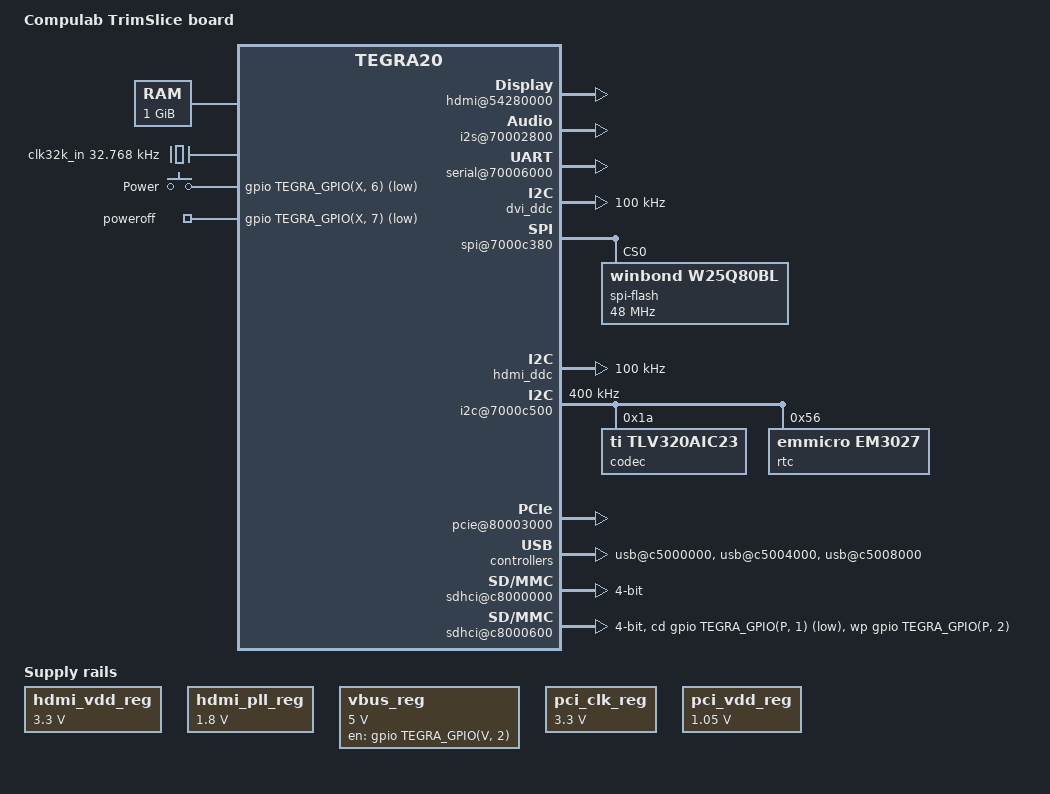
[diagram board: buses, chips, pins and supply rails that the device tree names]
/dts-v1/;

#include <dt-bindings/input/input.h>
#include "tegra20.dtsi"

/ {
	model = "Compulab TrimSlice board";
	compatible = "compulab,trimslice", "nvidia,tegra20";

	aliases {
		rtc0 = "/i2c@7000c500/rtc@56";
		rtc1 = "/rtc@7000e000";
		serial0 = &uarta;
	};

	chosen {
		stdout-path = "serial0:115200n8";
	};

	memory {
		reg = <0x00000000 0x40000000>;
	};

	host1x@50000000 {
		hdmi@54280000 {
			status = "okay";

			vdd-supply = <&hdmi_vdd_reg>;
			pll-supply = <&hdmi_pll_reg>;

			nvidia,ddc-i2c-bus = <&hdmi_ddc>;
			nvidia,hpd-gpio = <&gpio TEGRA_GPIO(N, 7)
				GPIO_ACTIVE_HIGH>;
		};
	};

	pinmux@70000014 {
		pinctrl-names = "default";
		pinctrl-0 = <&state_default>;

		state_default: pinmux {
			ata {
				nvidia,pins = "ata";
				nvidia,function = "ide";
			};
			atb {
				nvidia,pins = "atb", "gma";
				nvidia,function = "sdio4";
			};
			atc {
				nvidia,pins = "atc", "gmb";
				nvidia,function = "nand";
			};
			atd {
				nvidia,pins = "atd", "ate", "gme", "pta";
				nvidia,function = "gmi";
			};
			cdev1 {
				nvidia,pins = "cdev1";
				nvidia,function = "plla_out";
			};
			cdev2 {
				nvidia,pins = "cdev2";
				nvidia,function = "pllp_out4";
			};
			crtp {
				nvidia,pins = "crtp";
				nvidia,function = "crt";
			};
			csus {
				nvidia,pins = "csus";
				nvidia,function = "vi_sensor_clk";
			};
			dap1 {
				nvidia,pins = "dap1";
				nvidia,function = "dap1";
			};
			dap2 {
				nvidia,pins = "dap2";
				nvidia,function = "dap2";
			};
			dap3 {
				nvidia,pins = "dap3";
				nvidia,function = "dap3";
			};
			dap4 {
				nvidia,pins = "dap4";
				nvidia,function = "dap4";
			};
			ddc {
				nvidia,pins = "ddc";
				nvidia,function = "i2c2";
			};
			dta {
				nvidia,pins = "dta", "dtb", "dtc", "dtd", "dte";
				nvidia,function = "vi";
			};
			dtf {
				nvidia,pins = "dtf";
				nvidia,function = "i2c3";
			};
			gmc {
				nvidia,pins = "gmc", "gmd";
				nvidia,function = "sflash";
			};
			gpu {
				nvidia,pins = "gpu";
				nvidia,function = "uarta";
			};
			gpu7 {
				nvidia,pins = "gpu7";
				nvidia,function = "rtck";
			};
			gpv {
				nvidia,pins = "gpv", "slxa", "slxk";
				nvidia,function = "pcie";
			};
			hdint {
				nvidia,pins = "hdint";
				nvidia,function = "hdmi";
			};
			i2cp {
				nvidia,pins = "i2cp";
				nvidia,function = "i2cp";
			};
			irrx {
				nvidia,pins = "irrx", "irtx";
				nvidia,function = "uartb";
			};
			kbca {
				nvidia,pins = "kbca", "kbcb", "kbcc", "kbcd",
					"kbce", "kbcf";
				nvidia,function = "kbc";
			};
			lcsn {
				nvidia,pins = "lcsn", "ld0", "ld1", "ld2",
					"ld3", "ld4", "ld5", "ld6", "ld7",
					"ld8", "ld9", "ld10", "ld11", "ld12",
					"ld13", "ld14", "ld15", "ld16", "ld17",
					"ldc", "ldi", "lhp0", "lhp1", "lhp2",
					"lhs", "lm0", "lm1", "lpp", "lpw0",
					"lpw1", "lpw2", "lsc0", "lsc1", "lsck",
					"lsda", "lsdi", "lspi", "lvp0", "lvp1",
					"lvs";
				nvidia,function = "displaya";
			};
			owc {
				nvidia,pins = "owc", "uac";
				nvidia,function = "rsvd2";
			};
			pmc {
				nvidia,pins = "pmc";
				nvidia,function = "pwr_on";
			};
			rm {
				nvidia,pins = "rm";
				nvidia,function = "i2c1";
			};
			sdb {
				nvidia,pins = "sdb", "sdc", "sdd";
				nvidia,function = "pwm";
			};
			sdio1 {
				nvidia,pins = "sdio1";
				nvidia,function = "sdio1";
			};
			slxc {
				nvidia,pins = "slxc", "slxd";
				nvidia,function = "sdio3";
			};
			spdi {
				nvidia,pins = "spdi", "spdo";
				nvidia,function = "spdif";
			};
			spia {
				nvidia,pins = "spia", "spib", "spic";
				nvidia,function = "spi2";
			};
			spid {
				nvidia,pins = "spid", "spie", "spif";
				nvidia,function = "spi1";
			};
			spig {
				nvidia,pins = "spig", "spih";
				nvidia,function = "spi2_alt";
			};
			uaa {
				nvidia,pins = "uaa", "uab", "uda";
				nvidia,function = "ulpi";
			};
			uad {
				nvidia,pins = "uad";
				nvidia,function = "irda";
			};
			uca {
				nvidia,pins = "uca", "ucb";
				nvidia,function = "uartc";
			};
			conf_ata {
				nvidia,pins = "ata", "atc", "atd", "ate",
					"crtp", "dap2", "dap3", "dap4", "dta",
					"dtb", "dtc", "dtd", "dte", "gmb",
					"gme", "i2cp", "pta", "slxc", "slxd",
					"spdi", "spdo", "uda";
				nvidia,pull = <TEGRA_PIN_PULL_NONE>;
				nvidia,tristate = <TEGRA_PIN_ENABLE>;
			};
			conf_atb {
				nvidia,pins = "atb", "cdev1", "cdev2", "dap1",
					"gma", "gmc", "gmd", "gpu", "gpu7",
					"gpv", "sdio1", "slxa", "slxk", "uac";
				nvidia,pull = <TEGRA_PIN_PULL_NONE>;
				nvidia,tristate = <TEGRA_PIN_DISABLE>;
			};
			conf_ck32 {
				nvidia,pins = "ck32", "ddrc", "pmca", "pmcb",
					"pmcc", "pmcd", "pmce", "xm2c", "xm2d";
				nvidia,pull = <TEGRA_PIN_PULL_NONE>;
			};
			conf_csus {
				nvidia,pins = "csus", "spia", "spib",
					"spid", "spif";
				nvidia,pull = <TEGRA_PIN_PULL_DOWN>;
				nvidia,tristate = <TEGRA_PIN_ENABLE>;
			};
			conf_ddc {
				nvidia,pins = "ddc", "dtf", "rm", "sdc", "sdd";
				nvidia,pull = <TEGRA_PIN_PULL_UP>;
				nvidia,tristate = <TEGRA_PIN_DISABLE>;
			};
			conf_hdint {
				nvidia,pins = "hdint", "lcsn", "ldc", "lm1",
					"lpw1", "lsc1", "lsck", "lsda", "lsdi",
					"lvp0", "pmc";
				nvidia,tristate = <TEGRA_PIN_ENABLE>;
			};
			conf_irrx {
				nvidia,pins = "irrx", "irtx", "kbca", "kbcb",
					"kbcc", "kbcd", "kbce", "kbcf", "owc",
					"spic", "spie", "spig", "spih", "uaa",
					"uab", "uad", "uca", "ucb";
				nvidia,pull = <TEGRA_PIN_PULL_UP>;
				nvidia,tristate = <TEGRA_PIN_ENABLE>;
			};
			conf_lc {
				nvidia,pins = "lc", "ls";
				nvidia,pull = <TEGRA_PIN_PULL_UP>;
			};
			conf_ld0 {
				nvidia,pins = "ld0", "ld1", "ld2", "ld3", "ld4",
					"ld5", "ld6", "ld7", "ld8", "ld9",
					"ld10", "ld11", "ld12", "ld13", "ld14",
					"ld15", "ld16", "ld17", "ldi", "lhp0",
					"lhp1", "lhp2", "lhs", "lm0", "lpp",
					"lpw0", "lpw2", "lsc0", "lspi", "lvp1",
					"lvs", "sdb";
				nvidia,tristate = <TEGRA_PIN_DISABLE>;
			};
			conf_ld17_0 {
				nvidia,pins = "ld17_0", "ld19_18", "ld21_20",
					"ld23_22";
				nvidia,pull = <TEGRA_PIN_PULL_DOWN>;
			};
			conf_spif {
				nvidia,pins = "spif";
				nvidia,pull = <TEGRA_PIN_PULL_DOWN>;
				nvidia,tristate = <TEGRA_PIN_DISABLE>;
			};
		};
	};

	i2s@70002800 {
		status = "okay";
	};

	serial@70006000 {
		status = "okay";
	};

	dvi_ddc: i2c@7000c000 {
		status = "okay";
		clock-frequency = <100000>;
	};

	spi@7000c380 {
		status = "okay";
		spi-max-frequency = <48000000>;
		spi-flash@0 {
			compatible = "winbond,w25q80bl";
			reg = <0>;
			spi-max-frequency = <48000000>;
		};
	};

	hdmi_ddc: i2c@7000c400 {
		status = "okay";
		clock-frequency = <100000>;
	};

	i2c@7000c500 {
		status = "okay";
		clock-frequency = <400000>;

		codec: codec@1a {
			compatible = "ti,tlv320aic23";
			reg = <0x1a>;
		};

		rtc@56 {
			compatible = "emmicro,em3027";
			reg = <0x56>;
		};
	};

	pmc@7000e400 {
		nvidia,suspend-mode = <1>;
		nvidia,cpu-pwr-good-time = <5000>;
		nvidia,cpu-pwr-off-time = <5000>;
		nvidia,core-pwr-good-time = <3845 3845>;
		nvidia,core-pwr-off-time = <3875>;
		nvidia,sys-clock-req-active-high;
	};

	pcie@80003000 {
		status = "okay";

		avdd-pex-supply = <&pci_vdd_reg>;
		vdd-pex-supply = <&pci_vdd_reg>;
		avdd-pex-pll-supply = <&pci_vdd_reg>;
		avdd-plle-supply = <&pci_vdd_reg>;
		vddio-pex-clk-supply = <&pci_clk_reg>;

		pci@1,0 {
			status = "okay";
		};
	};

	usb@c5000000 {
		status = "okay";
	};

	usb-phy@c5000000 {
		status = "okay";
		vbus-supply = <&vbus_reg>;
	};

	usb@c5004000 {
		status = "okay";
		nvidia,phy-reset-gpio = <&gpio TEGRA_GPIO(V, 0)
			GPIO_ACTIVE_LOW>;
	};

	usb-phy@c5004000 {
		status = "okay";
		nvidia,phy-reset-gpio = <&gpio TEGRA_GPIO(V, 0)
			GPIO_ACTIVE_LOW>;
	};

	usb@c5008000 {
		status = "okay";
	};

	usb-phy@c5008000 {
		status = "okay";
	};

	sdhci@c8000000 {
		status = "okay";
		broken-cd;
		bus-width = <4>;
	};

	sdhci@c8000600 {
		status = "okay";
		cd-gpios = <&gpio TEGRA_GPIO(P, 1) GPIO_ACTIVE_LOW>;
		wp-gpios = <&gpio TEGRA_GPIO(P, 2) GPIO_ACTIVE_HIGH>;
		bus-width = <4>;
	};

	clocks {
		compatible = "simple-bus";
		#address-cells = <1>;
		#size-cells = <0>;

		clk32k_in: clock@0 {
			compatible = "fixed-clock";
			reg = <0>;
			#clock-cells = <0>;
			clock-frequency = <32768>;
		};
	};

	gpio-keys {
		compatible = "gpio-keys";

		power {
			label = "Power";
			gpios = <&gpio TEGRA_GPIO(X, 6) GPIO_ACTIVE_LOW>;
			linux,code = <KEY_POWER>;
			wakeup-source;
		};
	};

	poweroff {
		compatible = "gpio-poweroff";
		gpios = <&gpio TEGRA_GPIO(X, 7) GPIO_ACTIVE_LOW>;
	};

	regulators {
		compatible = "simple-bus";
		#address-cells = <1>;
		#size-cells = <0>;

		hdmi_vdd_reg: regulator@0 {
			compatible = "regulator-fixed";
			reg = <0>;
			regulator-name = "avdd_hdmi";
			regulator-min-microvolt = <3300000>;
			regulator-max-microvolt = <3300000>;
			regulator-always-on;
		};

		hdmi_pll_reg: regulator@1 {
			compatible = "regulator-fixed";
			reg = <1>;
			regulator-name = "avdd_hdmi_pll";
			regulator-min-microvolt = <1800000>;
			regulator-max-microvolt = <1800000>;
			regulator-always-on;
		};

		vbus_reg: regulator@2 {
			compatible = "regulator-fixed";
			reg = <2>;
			regulator-name = "usb1_vbus";
			regulator-min-microvolt = <5000000>;
			regulator-max-microvolt = <5000000>;
			enable-active-high;
			gpio = <&gpio TEGRA_GPIO(V, 2) 0>;
			regulator-always-on;
			regulator-boot-on;
		};

		pci_clk_reg: regulator@3 {
			compatible = "regulator-fixed";
			reg = <3>;
			regulator-name = "pci_clk";
			regulator-min-microvolt = <3300000>;
			regulator-max-microvolt = <3300000>;
			regulator-always-on;
		};

		pci_vdd_reg: regulator@4 {
			compatible = "regulator-fixed";
			reg = <4>;
			regulator-name = "pci_vdd";
			regulator-min-microvolt = <1050000>;
			regulator-max-microvolt = <1050000>;
			regulator-always-on;
		};
	};

	sound {
		compatible = "nvidia,tegra-audio-trimslice";
		nvidia,i2s-controller = <&tegra_i2s1>;
		nvidia,audio-codec = <&codec>;

		clocks = <&tegra_car TEGRA20_CLK_PLL_A>,
			 <&tegra_car TEGRA20_CLK_PLL_A_OUT0>,
			 <&tegra_car TEGRA20_CLK_CDEV1>;
		clock-names = "pll_a", "pll_a_out0", "mclk";
	};
};
